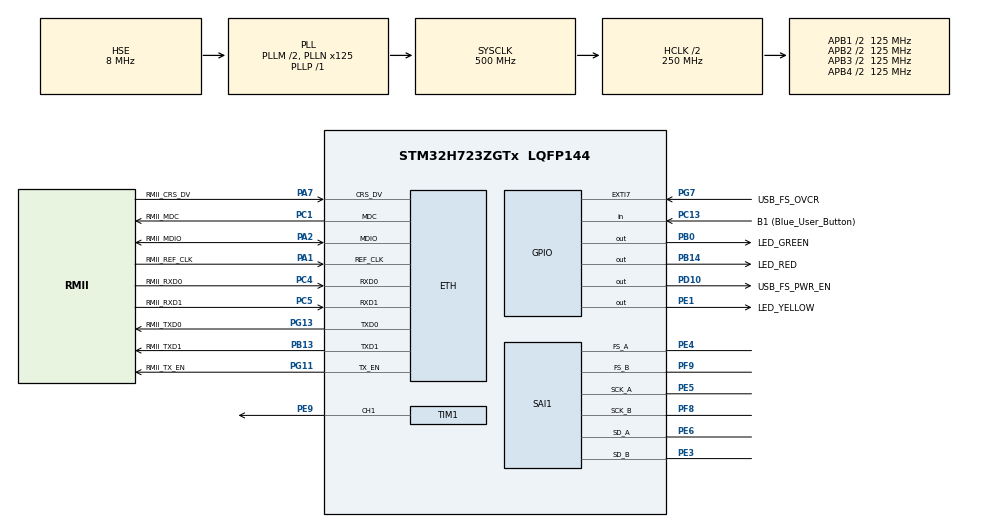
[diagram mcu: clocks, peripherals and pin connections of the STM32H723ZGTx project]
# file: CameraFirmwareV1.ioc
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CORTEX_M7.AccessPermission-Cortex_Memory_Protection_Unit_Region1_Settings=MPU_REGION_FULL_ACCESS
CORTEX_M7.AccessPermission-Cortex_Memory_Protection_Unit_Region2_Settings=MPU_REGION_FULL_ACCESS
CORTEX_M7.BaseAddress-Cortex_Memory_Protection_Unit_Region1_Settings=0x30000200
CORTEX_M7.BaseAddress-Cortex_Memory_Protection_Unit_Region2_Settings=0x30000000
CORTEX_M7.CPU_DCache=Enabled
CORTEX_M7.CPU_ICache=Enabled
CORTEX_M7.DisableExec-Cortex_Memory_Protection_Unit_Region0_Settings=MPU_INSTRUCTION_ACCESS_DISABLE
CORTEX_M7.DisableExec-Cortex_Memory_Protection_Unit_Region1_Settings=MPU_INSTRUCTION_ACCESS_DISABLE
CORTEX_M7.DisableExec-Cortex_Memory_Protection_Unit_Region2_Settings=MPU_INSTRUCTION_ACCESS_DISABLE
CORTEX_M7.Enable-Cortex_Memory_Protection_Unit_Region0_Settings=MPU_REGION_ENABLE
CORTEX_M7.Enable-Cortex_Memory_Protection_Unit_Region1_Settings=MPU_REGION_ENABLE
CORTEX_M7.Enable-Cortex_Memory_Protection_Unit_Region2_Settings=MPU_REGION_ENABLE
CORTEX_M7.IsBufferable-Cortex_Memory_Protection_Unit_Region2_Settings=MPU_ACCESS_BUFFERABLE
CORTEX_M7.IsShareable-Cortex_Memory_Protection_Unit_Region0_Settings=MPU_ACCESS_SHAREABLE
CORTEX_M7.IsShareable-Cortex_Memory_Protection_Unit_Region2_Settings=MPU_ACCESS_SHAREABLE
CORTEX_M7.MPU_Control=MPU_PRIVILEGED_DEFAULT
CORTEX_M7.Size-Cortex_Memory_Protection_Unit_Region0_Settings=MPU_REGION_SIZE_4GB
CORTEX_M7.Size-Cortex_Memory_Protection_Unit_Region1_Settings=MPU_REGION_SIZE_32KB
CORTEX_M7.Size-Cortex_Memory_Protection_Unit_Region2_Settings=MPU_REGION_SIZE_512B
CORTEX_M7.SubRegionDisable-Cortex_Memory_Protection_Unit_Region0_Settings=0x87
CORTEX_M7.TypeExtField-Cortex_Memory_Protection_Unit_Region1_Settings=MPU_TEX_LEVEL1
ETH.MediaInterface=HAL_ETH_RMII_MODE
FREERTOS.Tasks01=defaultTask,0,512,StartDefaultTask,Default,NULL,Dynamic,NULL,NULL
FREERTOS.configUSE_NEWLIB_REENTRANT=1
LWIP.BSP.number=1
LWIP.IP_ADDRESS=192.168.001.010
LWIP.LWIP_DHCP=0
LWIP.LWIP_RAM_HEAP_POINTER=0x30002000
LWIP.MEM_SIZE=32232
LWIP.NETMASK_ADDRESS=255.255.255.000
LWIP.Version=v2.1.2_Cube
LWIP0.BSP.STBoard=false
LWIP0.BSP.api=BSP_COMPONENT_DRIVER
LWIP0.BSP.component=LAN8742
LWIP0.BSP.instance=LAN8742
LWIP0.BSP.name=Driver_PHY
LWIP0.BSP.semaphore=S_LAN8742
LWIP0.BSP.solution=LAN8742
Mcu.Family=STM32H7
Mcu.Name=STM32H723ZGTx
Mcu.Package=LQFP144
NVIC.ETH_IRQn=true\:5\:0\:false\:false\:true\:true\:true\:true\:true
NVIC.PriorityGroup=NVIC_PRIORITYGROUP_4
NVIC.TIM6_DAC_IRQn=true\:15\:0\:false\:false\:true\:false\:false\:true\:true
NVIC.TimeBase=TIM6_DAC_IRQn
NVIC.TimeBaseIP=TIM6
PA1.GPIO_Label=RMII_REF_CLK
PA1.GPIO_Speed=GPIO_SPEED_FREQ_VERY_HIGH
PA1.Mode=RMII
PA1.Signal=ETH_REF_CLK
PA10.GPIO_Label=USB_FS_ID
PA10.Signal=USB_OTG_HS_ID
PA13(JTMS/SWDIO).GPIO_Label=SWDIO
PA13(JTMS/SWDIO).Signal=DEBUG_JTMS-SWDIO
PA14(JTCK/SWCLK).GPIO_Label=SWCLK
PA14(JTCK/SWCLK).Signal=DEBUG_JTCK-SWCLK
PA2.GPIO_Label=RMII_MDIO
PA2.GPIO_Speed=GPIO_SPEED_FREQ_VERY_HIGH
PA2.Mode=RMII
PA2.Signal=ETH_MDIO
PA7.GPIO_Label=RMII_CRS_DV
PA7.GPIO_Speed=GPIO_SPEED_FREQ_VERY_HIGH
PA7.Mode=RMII
PA7.Signal=ETH_CRS_DV
PA9.GPIO_Label=USB_FS_VBUS
PA9.Signal=USB_OTG_HS_VBUS
PB0.GPIO_Label=LED_GREEN
PB0.Signal=GPIO_Output
PB13.GPIO_Label=RMII_TXD1
PB13.GPIO_Speed=GPIO_SPEED_FREQ_VERY_HIGH
PB13.Mode=RMII
PB13.Signal=ETH_TXD1
PB14.GPIO_Label=LED_RED
PB14.Signal=GPIO_Output
PB3(JTDO/TRACESWO).GPIO_Label=SWO
PB3(JTDO/TRACESWO).Signal=DEBUG_JTDO-SWO
PC1.GPIO_Label=RMII_MDC
PC1.GPIO_Speed=GPIO_SPEED_FREQ_VERY_HIGH
PC1.Mode=RMII
PC1.Signal=ETH_MDC
PC13.GPIO_Label=B1 (Blue_User_Button)
PC13.Signal=GPIO_Input
PC14-OSC32_IN.Signal=RCC_OSC32_IN
PC15-OSC32_OUT.Signal=RCC_OSC32_OUT
PC4.GPIO_Label=RMII_RXD0
PC4.GPIO_Speed=GPIO_SPEED_FREQ_VERY_HIGH
PC4.Mode=RMII
PC4.Signal=ETH_RXD0
PC5.GPIO_Label=RMII_RXD1
PC5.GPIO_Speed=GPIO_SPEED_FREQ_VERY_HIGH
PC5.Mode=RMII
PC5.Signal=ETH_RXD1
PD10.GPIO_Label=USB_FS_PWR_EN
PD10.Signal=GPIO_Output
PD8.GPIO_Label=STLK_VCP_RX
PD8.Signal=USART3_TX
PD9.GPIO_Label=STLK_VCP_TX
PD9.Signal=USART3_RX
PE1.GPIO_Label=LED_YELLOW
PE1.Signal=GPIO_Output
PE3.Mode=SAI_B_AsyncSlave
PE3.Signal=SAI1_SD_B
PE4.Mode=SAI_A_AsyncSlave
PE4.Signal=SAI1_FS_A
PE5.Mode=SAI_A_AsyncSlave
PE5.Signal=SAI1_SCK_A
PE6.Mode=SAI_A_AsyncSlave
PE6.Signal=SAI1_SD_A
PE9.GPIO_PuPd=GPIO_NOPULL
PE9.GPIO_Speed=GPIO_SPEED_FREQ_VERY_HIGH
PE9.Signal=S_TIM1_CH1
PF8.Mode=SAI_B_AsyncSlave
PF8.Signal=SAI1_SCK_B
PF9.Mode=SAI_B_AsyncSlave
PF9.Signal=SAI1_FS_B
PG11.GPIO_Label=RMII_TX_EN
PG11.GPIO_Speed=GPIO_SPEED_FREQ_VERY_HIGH
PG11.Mode=RMII
PG11.Signal=ETH_TX_EN
PG13.GPIO_Label=RMII_TXD0
PG13.GPIO_Speed=GPIO_SPEED_FREQ_VERY_HIGH
PG13.Mode=RMII
PG13.Signal=ETH_TXD0
PG7.GPIO_Label=USB_FS_OVCR
PG7.Signal=GPXTI7
PH0-OSC_IN.GPIO_Label=MCO
PH0-OSC_IN.Mode=HSE-External-Clock-Source
PH0-OSC_IN.Signal=RCC_OSC_IN
PH1-OSC_OUT.Signal=RCC_OSC_OUT
ProjectManager.HeapSize=0x200
ProjectManager.StackSize=0x400
ProjectManager.TargetToolchain=STM32CubeIDE
RCC.ADCFreq_Value=76000000
RCC.APB1Freq_Value=125000000
RCC.APB2Freq_Value=125000000
RCC.APB3Freq_Value=125000000
RCC.APB4Freq_Value=125000000
RCC.CortexFreq_Value=500000000
RCC.D1PPRE=RCC_APB3_DIV2
RCC.D2PPRE1=RCC_APB1_DIV2
RCC.D2PPRE2=RCC_APB2_DIV2
RCC.D3PPRE=RCC_APB4_DIV2
RCC.DIVM1=2
RCC.DIVM2=1
RCC.DIVN1=125
RCC.DIVN2=19
RCC.DIVP1=1
RCC.DIVQ1=4
RCC.HCLKFreq_Value=250000000
RCC.HPRE=RCC_HCLK_DIV2
RCC.HSE_VALUE=8000000
RCC.PLLFRACN=0
RCC.PLLSourceVirtual=RCC_PLLSOURCE_HSE
RCC.SYSCLKFreq_VALUE=500000000
RCC.SYSCLKSource=RCC_SYSCLKSOURCE_PLLCLK
RCC.USBCLockSelection=RCC_USBCLKSOURCE_HSI48
RCC.USBFreq_Value=48000000
SAI1.DataSize-SAI_A_AsyncSlave=SAI_DATASIZE_32
SAI1.DataSize-SAI_B_AsyncSlave=SAI_DATASIZE_32
SAI1.FSOffset-SAI_A_AsyncSlave=SAI_FS_BEFOREFIRSTBIT
SAI1.FSOffset-SAI_B_AsyncSlave=SAI_FS_BEFOREFIRSTBIT
SAI1.FSPolarity-SAI_A_AsyncSlave=SAI_FS_ACTIVE_HIGH
SAI1.FSPolarity-SAI_B_AsyncSlave=SAI_FS_ACTIVE_HIGH
SAI1.FrameLength-SAI_A_AsyncSlave=256
SAI1.FrameLength-SAI_B_AsyncSlave=256
SAI1.Instance-SAI_A_AsyncSlave=SAI$Index_Block_A
SAI1.Instance-SAI_B_AsyncSlave=SAI$Index_Block_B
SAI1.MonoStereoMode-SAI_A_AsyncSlave=SAI_MONOMODE
SAI1.MonoStereoMode-SAI_B_AsyncSlave=SAI_MONOMODE
SAI1.SlotActive-SAI_A_AsyncSlave=0x00000003
SAI1.SlotActive-SAI_B_AsyncSlave=0x00000003
SAI1.SlotNumber-SAI_A_AsyncSlave=2
SAI1.VirtualMode-SAI_A_AsyncSlave=VM_SLAVE
SAI1.VirtualMode-SAI_B_AsyncSlave=VM_SLAVE
SH.S_TIM1_CH1.0=TIM1_CH1,PWM Generation1 CH1
TIM1.AutoReloadPreload=TIM_AUTORELOAD_PRELOAD_ENABLE
TIM1.Channel-PWM\ Generation1\ CH1=TIM_CHANNEL_1
TIM1.Period=74
TIM1.Pulse-PWM\ Generation1\ CH1=37
VP_FREERTOS_VS_CMSIS_V1.Mode=CMSIS_V1
VP_LWIP_VS_Enabled.Mode=Enabled
VP_SYS_VS_tim6.Mode=TIM6
VP_TIM1_VS_ClockSourceINT.Mode=Internal
board=NUCLEO-H723ZG

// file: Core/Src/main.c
/* USER CODE BEGIN Header */
/**
  ******************************************************************************
  * @file           : main.c
  * @brief          : Main program body
  ******************************************************************************
  * @attention
  *
  * Copyright (c) 2024 STMicroelectronics.
  * All rights reserved.
  *
  * This software is licensed under terms that can be found in the LICENSE file
  * in the root directory of this software component.
  * If no LICENSE file comes with this software, it is provided AS-IS.
  *
  ******************************************************************************
  */
/* USER CODE END Header */
#include "main.h"
#include "cmsis_os.h"
#include "lwip.h"

/* USER CODE BEGIN Includes */
#include "lwip/udp.h"
#include <string.h>
/* USER CODE END Includes */

SAI_HandleTypeDef hsai_BlockA1;
SAI_HandleTypeDef hsai_BlockB1;

TIM_HandleTypeDef htim1;

osThreadId defaultTaskHandle;

void SystemClock_Config(void);
static void MPU_Config(void);
static void MX_GPIO_Init(void);
static void MX_SAI1_Init(void);
static void MX_TIM1_Init(void);
void StartDefaultTask(void const * argument);

int main(void)
{

  /* MPU Configuration--------------------------------------------------------*/
  MPU_Config();
/* Enable the CPU Cache */

  /* Enable I-Cache---------------------------------------------------------*/
  SCB_EnableICache();

  /* Enable D-Cache---------------------------------------------------------*/
  SCB_EnableDCache();

  /* MCU Configuration--------------------------------------------------------*/

  /* Reset of all peripherals, Initializes the Flash interface and the Systick. */
  HAL_Init();

  /* Configure the system clock */
  SystemClock_Config();

  /* Initialize all configured peripherals */
  MX_GPIO_Init();
  MX_SAI1_Init();
  MX_TIM1_Init();
  /* USER CODE BEGIN 2 */

  HAL_TIM_PWM_Start(&htim1, TIM_CHANNEL_1);

  /* USER CODE END 2 */

  /* Create the thread(s) */
  /* definition and creation of defaultTask */
  osThreadDef(defaultTask, StartDefaultTask, osPriorityNormal, 0, 512);
  defaultTaskHandle = osThreadCreate(osThread(defaultTask), NULL);

  /* Start scheduler */
  osKernelStart();

  /* We should never get here as control is now taken by the scheduler */
  /* Infinite loop */
  while (1)
  {

  }
}

void SystemClock_Config(void)
{
  RCC_OscInitTypeDef RCC_OscInitStruct = {0};
  RCC_ClkInitTypeDef RCC_ClkInitStruct = {0};

  /** Supply configuration update enable
  */
  HAL_PWREx_ConfigSupply(PWR_LDO_SUPPLY);

  /** Configure the main internal regulator output voltage
  */
  __HAL_PWR_VOLTAGESCALING_CONFIG(PWR_REGULATOR_VOLTAGE_SCALE0);

  while(!__HAL_PWR_GET_FLAG(PWR_FLAG_VOSRDY)) {}

  /** Initializes the RCC Oscillators according to the specified parameters
  * in the RCC_OscInitTypeDef structure.
  */
  RCC_OscInitStruct.OscillatorType = RCC_OSCILLATORTYPE_HSE;
  RCC_OscInitStruct.HSEState = RCC_HSE_BYPASS;
  RCC_OscInitStruct.PLL.PLLState = RCC_PLL_ON;
  RCC_OscInitStruct.PLL.PLLSource = RCC_PLLSOURCE_HSE;
  RCC_OscInitStruct.PLL.PLLM = 2;
  RCC_OscInitStruct.PLL.PLLN = 125;
  RCC_OscInitStruct.PLL.PLLP = 1;
  RCC_OscInitStruct.PLL.PLLQ = 4;
  RCC_OscInitStruct.PLL.PLLR = 2;
  RCC_OscInitStruct.PLL.PLLRGE = RCC_PLL1VCIRANGE_2;
  RCC_OscInitStruct.PLL.PLLVCOSEL = RCC_PLL1VCOWIDE;
  RCC_OscInitStruct.PLL.PLLFRACN = 0;
  if (HAL_RCC_OscConfig(&RCC_OscInitStruct) != HAL_OK)
  {
    Error_Handler();
  }

  /** Initializes the CPU, AHB and APB buses clocks
  */
  RCC_ClkInitStruct.ClockType = RCC_CLOCKTYPE_HCLK|RCC_CLOCKTYPE_SYSCLK
                              |RCC_CLOCKTYPE_PCLK1|RCC_CLOCKTYPE_PCLK2
                              |RCC_CLOCKTYPE_D3PCLK1|RCC_CLOCKTYPE_D1PCLK1;
  RCC_ClkInitStruct.SYSCLKSource = RCC_SYSCLKSOURCE_PLLCLK;
  RCC_ClkInitStruct.SYSCLKDivider = RCC_SYSCLK_DIV1;
  RCC_ClkInitStruct.AHBCLKDivider = RCC_HCLK_DIV2;
  RCC_ClkInitStruct.APB3CLKDivider = RCC_APB3_DIV2;
  RCC_ClkInitStruct.APB1CLKDivider = RCC_APB1_DIV2;
  RCC_ClkInitStruct.APB2CLKDivider = RCC_APB2_DIV2;
  RCC_ClkInitStruct.APB4CLKDivider = RCC_APB4_DIV2;

  if (HAL_RCC_ClockConfig(&RCC_ClkInitStruct, FLASH_LATENCY_3) != HAL_OK)
  {
    Error_Handler();
  }
}

static void MX_SAI1_Init(void)
{

  hsai_BlockA1.Instance = SAI1_Block_A;
  hsai_BlockA1.Init.Protocol = SAI_FREE_PROTOCOL;
  hsai_BlockA1.Init.AudioMode = SAI_MODESLAVE_RX;
  hsai_BlockA1.Init.DataSize = SAI_DATASIZE_32;
  hsai_BlockA1.Init.FirstBit = SAI_FIRSTBIT_MSB;
  hsai_BlockA1.Init.ClockStrobing = SAI_CLOCKSTROBING_FALLINGEDGE;
  hsai_BlockA1.Init.Synchro = SAI_ASYNCHRONOUS;
  hsai_BlockA1.Init.OutputDrive = SAI_OUTPUTDRIVE_DISABLE;
  hsai_BlockA1.Init.FIFOThreshold = SAI_FIFOTHRESHOLD_EMPTY;
  hsai_BlockA1.Init.SynchroExt = SAI_SYNCEXT_DISABLE;
  hsai_BlockA1.Init.MonoStereoMode = SAI_MONOMODE;
  hsai_BlockA1.Init.CompandingMode = SAI_NOCOMPANDING;
  hsai_BlockA1.Init.TriState = SAI_OUTPUT_NOTRELEASED;
  hsai_BlockA1.Init.PdmInit.Activation = DISABLE;
  hsai_BlockA1.Init.PdmInit.MicPairsNbr = 0;
  hsai_BlockA1.Init.PdmInit.ClockEnable = SAI_PDM_CLOCK1_ENABLE;
  hsai_BlockA1.FrameInit.FrameLength = 256;
  hsai_BlockA1.FrameInit.ActiveFrameLength = 1;
  hsai_BlockA1.FrameInit.FSDefinition = SAI_FS_STARTFRAME;
  hsai_BlockA1.FrameInit.FSPolarity = SAI_FS_ACTIVE_HIGH;
  hsai_BlockA1.FrameInit.FSOffset = SAI_FS_BEFOREFIRSTBIT;
  hsai_BlockA1.SlotInit.FirstBitOffset = 0;
  hsai_BlockA1.SlotInit.SlotSize = SAI_SLOTSIZE_DATASIZE;
  hsai_BlockA1.SlotInit.SlotNumber = 2;
  hsai_BlockA1.SlotInit.SlotActive = 0x00000003;
  if (HAL_SAI_Init(&hsai_BlockA1) != HAL_OK)
  {
    Error_Handler();
  }
  hsai_BlockB1.Instance = SAI1_Block_B;
  hsai_BlockB1.Init.Protocol = SAI_FREE_PROTOCOL;
  hsai_BlockB1.Init.AudioMode = SAI_MODESLAVE_RX;
  hsai_BlockB1.Init.DataSize = SAI_DATASIZE_32;
  hsai_BlockB1.Init.FirstBit = SAI_FIRSTBIT_MSB;
  hsai_BlockB1.Init.ClockStrobing = SAI_CLOCKSTROBING_FALLINGEDGE;
  hsai_BlockB1.Init.Synchro = SAI_ASYNCHRONOUS;
  hsai_BlockB1.Init.OutputDrive = SAI_OUTPUTDRIVE_DISABLE;
  hsai_BlockB1.Init.FIFOThreshold = SAI_FIFOTHRESHOLD_EMPTY;
  hsai_BlockB1.Init.SynchroExt = SAI_SYNCEXT_DISABLE;
  hsai_BlockB1.Init.MonoStereoMode = SAI_MONOMODE;
  hsai_BlockB1.Init.CompandingMode = SAI_NOCOMPANDING;
  hsai_BlockB1.Init.TriState = SAI_OUTPUT_NOTRELEASED;
  hsai_BlockB1.Init.PdmInit.Activation = DISABLE;
  hsai_BlockB1.Init.PdmInit.MicPairsNbr = 0;
  hsai_BlockB1.Init.PdmInit.ClockEnable = SAI_PDM_CLOCK1_ENABLE;
  hsai_BlockB1.FrameInit.FrameLength = 256;
  hsai_BlockB1.FrameInit.ActiveFrameLength = 1;
  hsai_BlockB1.FrameInit.FSDefinition = SAI_FS_STARTFRAME;
  hsai_BlockB1.FrameInit.FSPolarity = SAI_FS_ACTIVE_HIGH;
  hsai_BlockB1.FrameInit.FSOffset = SAI_FS_BEFOREFIRSTBIT;
  hsai_BlockB1.SlotInit.FirstBitOffset = 0;
  hsai_BlockB1.SlotInit.SlotSize = SAI_SLOTSIZE_DATASIZE;
  hsai_BlockB1.SlotInit.SlotNumber = 2;
  hsai_BlockB1.SlotInit.SlotActive = 0x00000003;
  if (HAL_SAI_Init(&hsai_BlockB1) != HAL_OK)
  {
    Error_Handler();
  }

}

static void MX_TIM1_Init(void)
{

  TIM_ClockConfigTypeDef sClockSourceConfig = {0};
  TIM_MasterConfigTypeDef sMasterConfig = {0};
  TIM_OC_InitTypeDef sConfigOC = {0};
  TIM_BreakDeadTimeConfigTypeDef sBreakDeadTimeConfig = {0};

  htim1.Instance = TIM1;
  htim1.Init.Prescaler = 0;
  htim1.Init.CounterMode = TIM_COUNTERMODE_UP;
  htim1.Init.Period = 74;
  htim1.Init.ClockDivision = TIM_CLOCKDIVISION_DIV1;
  htim1.Init.RepetitionCounter = 0;
  htim1.Init.AutoReloadPreload = TIM_AUTORELOAD_PRELOAD_ENABLE;
  if (HAL_TIM_Base_Init(&htim1) != HAL_OK)
  {
    Error_Handler();
  }
  sClockSourceConfig.ClockSource = TIM_CLOCKSOURCE_INTERNAL;
  if (HAL_TIM_ConfigClockSource(&htim1, &sClockSourceConfig) != HAL_OK)
  {
    Error_Handler();
  }
  if (HAL_TIM_PWM_Init(&htim1) != HAL_OK)
  {
    Error_Handler();
  }
  sMasterConfig.MasterOutputTrigger = TIM_TRGO_RESET;
  sMasterConfig.MasterOutputTrigger2 = TIM_TRGO2_RESET;
  sMasterConfig.MasterSlaveMode = TIM_MASTERSLAVEMODE_DISABLE;
  if (HAL_TIMEx_MasterConfigSynchronization(&htim1, &sMasterConfig) != HAL_OK)
  {
    Error_Handler();
  }
  sConfigOC.OCMode = TIM_OCMODE_PWM1;
  sConfigOC.Pulse = 37;
  sConfigOC.OCPolarity = TIM_OCPOLARITY_HIGH;
  sConfigOC.OCNPolarity = TIM_OCNPOLARITY_HIGH;
  sConfigOC.OCFastMode = TIM_OCFAST_DISABLE;
  sConfigOC.OCIdleState = TIM_OCIDLESTATE_RESET;
  sConfigOC.OCNIdleState = TIM_OCNIDLESTATE_RESET;
  if (HAL_TIM_PWM_ConfigChannel(&htim1, &sConfigOC, TIM_CHANNEL_1) != HAL_OK)
  {
    Error_Handler();
  }
  sBreakDeadTimeConfig.OffStateRunMode = TIM_OSSR_DISABLE;
  sBreakDeadTimeConfig.OffStateIDLEMode = TIM_OSSI_DISABLE;
  sBreakDeadTimeConfig.LockLevel = TIM_LOCKLEVEL_OFF;
  sBreakDeadTimeConfig.DeadTime = 0;
  sBreakDeadTimeConfig.BreakState = TIM_BREAK_DISABLE;
  sBreakDeadTimeConfig.BreakPolarity = TIM_BREAKPOLARITY_HIGH;
  sBreakDeadTimeConfig.BreakFilter = 0;
  sBreakDeadTimeConfig.Break2State = TIM_BREAK2_DISABLE;
  sBreakDeadTimeConfig.Break2Polarity = TIM_BREAK2POLARITY_HIGH;
  sBreakDeadTimeConfig.Break2Filter = 0;
  sBreakDeadTimeConfig.AutomaticOutput = TIM_AUTOMATICOUTPUT_DISABLE;
  if (HAL_TIMEx_ConfigBreakDeadTime(&htim1, &sBreakDeadTimeConfig) != HAL_OK)
  {
    Error_Handler();
  }
  HAL_TIM_MspPostInit(&htim1);

}

static void MX_GPIO_Init(void)
{
  GPIO_InitTypeDef GPIO_InitStruct = {0};

  /* GPIO Ports Clock Enable */
  __HAL_RCC_GPIOE_CLK_ENABLE();
  __HAL_RCC_GPIOC_CLK_ENABLE();
  __HAL_RCC_GPIOF_CLK_ENABLE();
  __HAL_RCC_GPIOH_CLK_ENABLE();
  __HAL_RCC_GPIOA_CLK_ENABLE();
  __HAL_RCC_GPIOB_CLK_ENABLE();
  __HAL_RCC_GPIOD_CLK_ENABLE();
  __HAL_RCC_GPIOG_CLK_ENABLE();

  /*Configure GPIO pin Output Level */
  HAL_GPIO_WritePin(GPIOB, LED_GREEN_Pin|LED_RED_Pin, GPIO_PIN_RESET);

  /*Configure GPIO pin Output Level */
  HAL_GPIO_WritePin(USB_FS_PWR_EN_GPIO_Port, USB_FS_PWR_EN_Pin, GPIO_PIN_RESET);

  /*Configure GPIO pin Output Level */
  HAL_GPIO_WritePin(LED_YELLOW_GPIO_Port, LED_YELLOW_Pin, GPIO_PIN_RESET);

  /*Configure GPIO pin : B1_Pin */
  GPIO_InitStruct.Pin = B1_Pin;
  GPIO_InitStruct.Mode = GPIO_MODE_INPUT;
  GPIO_InitStruct.Pull = GPIO_NOPULL;
  HAL_GPIO_Init(B1_GPIO_Port, &GPIO_InitStruct);

  /*Configure GPIO pins : LED_GREEN_Pin LED_RED_Pin */
  GPIO_InitStruct.Pin = LED_GREEN_Pin|LED_RED_Pin;
  GPIO_InitStruct.Mode = GPIO_MODE_OUTPUT_PP;
  GPIO_InitStruct.Pull = GPIO_NOPULL;
  GPIO_InitStruct.Speed = GPIO_SPEED_FREQ_LOW;
  HAL_GPIO_Init(GPIOB, &GPIO_InitStruct);

  /*Configure GPIO pins : STLK_VCP_RX_Pin STLK_VCP_TX_Pin */
  GPIO_InitStruct.Pin = STLK_VCP_RX_Pin|STLK_VCP_TX_Pin;
  GPIO_InitStruct.Mode = GPIO_MODE_AF_PP;
  GPIO_InitStruct.Pull = GPIO_NOPULL;
  GPIO_InitStruct.Speed = GPIO_SPEED_FREQ_LOW;
  GPIO_InitStruct.Alternate = GPIO_AF7_USART3;
  HAL_GPIO_Init(GPIOD, &GPIO_InitStruct);

  /*Configure GPIO pin : USB_FS_PWR_EN_Pin */
  GPIO_InitStruct.Pin = USB_FS_PWR_EN_Pin;
  GPIO_InitStruct.Mode = GPIO_MODE_OUTPUT_PP;
  GPIO_InitStruct.Pull = GPIO_NOPULL;
  GPIO_InitStruct.Speed = GPIO_SPEED_FREQ_LOW;
  HAL_GPIO_Init(USB_FS_PWR_EN_GPIO_Port, &GPIO_InitStruct);

  /*Configure GPIO pin : USB_FS_OVCR_Pin */
  GPIO_InitStruct.Pin = USB_FS_OVCR_Pin;
  GPIO_InitStruct.Mode = GPIO_MODE_IT_RISING;
  GPIO_InitStruct.Pull = GPIO_NOPULL;
  HAL_GPIO_Init(USB_FS_OVCR_GPIO_Port, &GPIO_InitStruct);

  /*Configure GPIO pin : USB_FS_ID_Pin */
  GPIO_InitStruct.Pin = USB_FS_ID_Pin;
  GPIO_InitStruct.Mode = GPIO_MODE_AF_PP;
  GPIO_InitStruct.Pull = GPIO_NOPULL;
  GPIO_InitStruct.Speed = GPIO_SPEED_FREQ_LOW;
  GPIO_InitStruct.Alternate = GPIO_AF10_OTG1_HS;
  HAL_GPIO_Init(USB_FS_ID_GPIO_Port, &GPIO_InitStruct);

  /*Configure GPIO pin : LED_YELLOW_Pin */
  GPIO_InitStruct.Pin = LED_YELLOW_Pin;
  GPIO_InitStruct.Mode = GPIO_MODE_OUTPUT_PP;
  GPIO_InitStruct.Pull = GPIO_NOPULL;
  GPIO_InitStruct.Speed = GPIO_SPEED_FREQ_LOW;
  HAL_GPIO_Init(LED_YELLOW_GPIO_Port, &GPIO_InitStruct);

}

void StartDefaultTask(void const * argument)
{
  /* init code for LWIP */
  MX_LWIP_Init();
  /* USER CODE BEGIN 5 */
  const char* message = "Hello UDP message!\n\r";

  osDelay(1000);

  ip_addr_t PC_IPADDR;
  IP_ADDR4(&PC_IPADDR, 192, 168, 1, 1);

  struct udp_pcb* my_udp = udp_new();
  udp_connect(my_udp, &PC_IPADDR, 55151);
  struct pbuf* udp_buffer = NULL;

  /* Infinite loop */
  for(;;)
  {
	  osDelay(1000);
	  /* !! PBUF_RAM is critical for correct operation !! */
	  udp_buffer = pbuf_alloc(PBUF_TRANSPORT, strlen(message), PBUF_RAM);

	  if (udp_buffer != NULL) {
	    memcpy(udp_buffer->payload, message, strlen(message));
	    udp_send(my_udp, udp_buffer);
	    pbuf_free(udp_buffer);
	  }
  }
  /* USER CODE END 5 */
}

/* MPU Configuration */

void MPU_Config(void)
{
  MPU_Region_InitTypeDef MPU_InitStruct = {0};

  /* Disables the MPU */
  HAL_MPU_Disable();

  /** Initializes and configures the Region and the memory to be protected
  */
  MPU_InitStruct.Enable = MPU_REGION_ENABLE;
  MPU_InitStruct.Number = MPU_REGION_NUMBER0;
  MPU_InitStruct.BaseAddress = 0x0;
  MPU_InitStruct.Size = MPU_REGION_SIZE_4GB;
  MPU_InitStruct.SubRegionDisable = 0x87;
  MPU_InitStruct.TypeExtField = MPU_TEX_LEVEL0;
  MPU_InitStruct.AccessPermission = MPU_REGION_NO_ACCESS;
  MPU_InitStruct.DisableExec = MPU_INSTRUCTION_ACCESS_DISABLE;
  MPU_InitStruct.IsShareable = MPU_ACCESS_SHAREABLE;
  MPU_InitStruct.IsCacheable = MPU_ACCESS_NOT_CACHEABLE;
  MPU_InitStruct.IsBufferable = MPU_ACCESS_NOT_BUFFERABLE;

  HAL_MPU_ConfigRegion(&MPU_InitStruct);

  /** Initializes and configures the Region and the memory to be protected
  */
  MPU_InitStruct.Number = MPU_REGION_NUMBER1;
  MPU_InitStruct.BaseAddress = 0x30000200;
  MPU_InitStruct.Size = MPU_REGION_SIZE_32KB;
  MPU_InitStruct.SubRegionDisable = 0x0;
  MPU_InitStruct.TypeExtField = MPU_TEX_LEVEL1;
  MPU_InitStruct.AccessPermission = MPU_REGION_FULL_ACCESS;
  MPU_InitStruct.IsShareable = MPU_ACCESS_NOT_SHAREABLE;

  HAL_MPU_ConfigRegion(&MPU_InitStruct);

  /** Initializes and configures the Region and the memory to be protected
  */
  MPU_InitStruct.Number = MPU_REGION_NUMBER2;
  MPU_InitStruct.BaseAddress = 0x30000000;
  MPU_InitStruct.Size = MPU_REGION_SIZE_512B;
  MPU_InitStruct.TypeExtField = MPU_TEX_LEVEL0;
  MPU_InitStruct.IsShareable = MPU_ACCESS_SHAREABLE;
  MPU_InitStruct.IsBufferable = MPU_ACCESS_BUFFERABLE;

  HAL_MPU_ConfigRegion(&MPU_InitStruct);
  /* Enables the MPU */
  HAL_MPU_Enable(MPU_PRIVILEGED_DEFAULT);

}

void HAL_TIM_PeriodElapsedCallback(TIM_HandleTypeDef *htim)
{
  if (htim->Instance == TIM6) {
    HAL_IncTick();
  }
}

void Error_Handler(void)
{
  __disable_irq();
  while (1)
  {
  }
}
